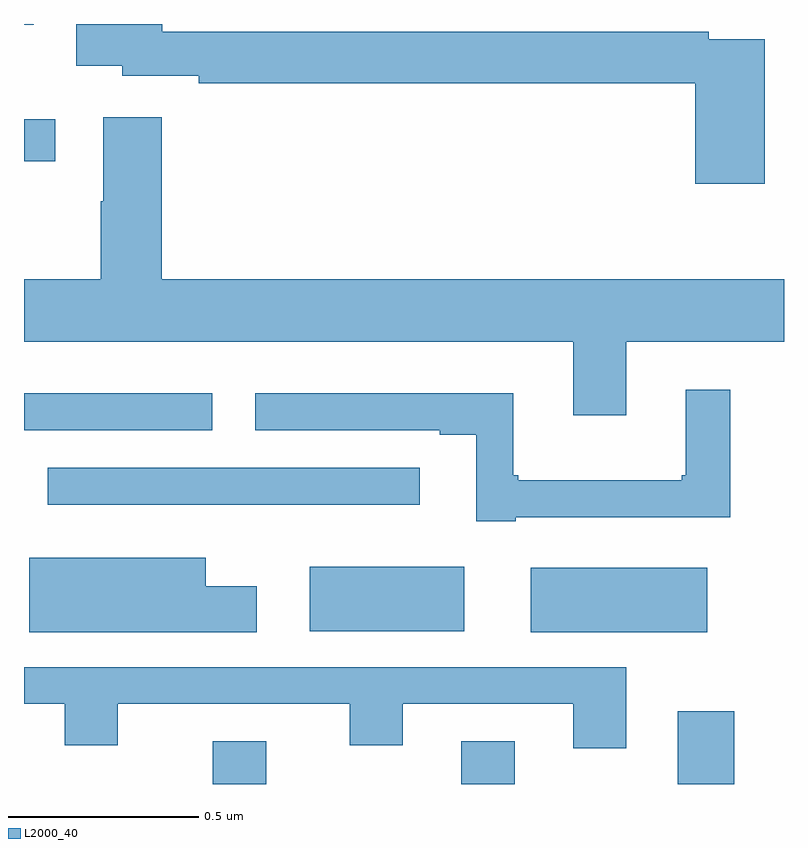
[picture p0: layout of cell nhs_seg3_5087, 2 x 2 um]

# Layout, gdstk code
import gdstk
lib = gdstk.Library(unit=1e-6, precision=1e-09)
def R(c, l, rs):  # rectangles x0, y0, x1, y1
    for r in rs: c.add(gdstk.rectangle(r[:2], r[2:], *l))
def P(c, l, *ps):  # polygons
    for p in ps: c.add(gdstk.Polygon(p, *l))
L2000_40 = (2000, 40)

nhs_seg3_5087 = lib.new_cell('nhs_seg3_5087')
R(nhs_seg3_5087, L2000_40, [(174.497,718.4,174.637,718.513), (175.151,718.4,175.291,718.513), (175.721,718.4,175.869,718.591), (175.334,718.799,175.798,718.969), (174.752,718.802,175.159,718.972), (174.063,719.135,175.042,719.232), (174,719.331,174.496,719.428), (174,720.039,174.082,720.149), (174,720.398,174.025,720.4)])
P(nhs_seg3_5087, L2000_40, [(175.949,720.36),(175.802,720.36),(175.802,720.38),(174.364,720.38),(174.364,720.4),(174.137,720.4),(174.137,720.29),(174.258,720.29),(174.258,720.264),(174.46,720.264),(174.46,720.244),(175.766,720.244),(175.766,719.979),(175.949,719.979)],
  [(175.585,719.564),(176,719.564),(176,719.728),(174.362,719.728),(174.362,720.154),(174.209,720.154),(174.209,719.933),(174.202,719.933),(174.202,719.728),(174,719.728),(174,719.564),(175.445,719.564),(175.445,719.37),(175.585,719.37)],
  [(175.294,719.102),(175.859,719.102),(175.859,719.437),(175.742,719.437),(175.742,719.212),(175.731,719.212),(175.731,719.2),(175.3,719.2),(175.3,719.212),(175.288,719.212),(175.288,719.428),(174.609,719.428),(174.609,719.331),(175.094,719.331),(175.094,719.319),(175.19,719.319),(175.19,719.091),(175.294,719.091)],
  [(174.613,718.921),(174.478,718.921),(174.478,718.996),(174.014,718.996),(174.014,718.799),(174.613,718.799)],
  [(175.585,718.707),(174,718.707),(174,718.611),(174.107,718.611),(174.107,718.502),(174.247,718.502),(174.247,718.611),(174.857,718.611),(174.857,718.502),(174.997,718.502),(174.997,718.611),(175.445,718.611),(175.445,718.494),(175.585,718.494)])

lib.write_gds('nhs_seg3_5087.gds')
